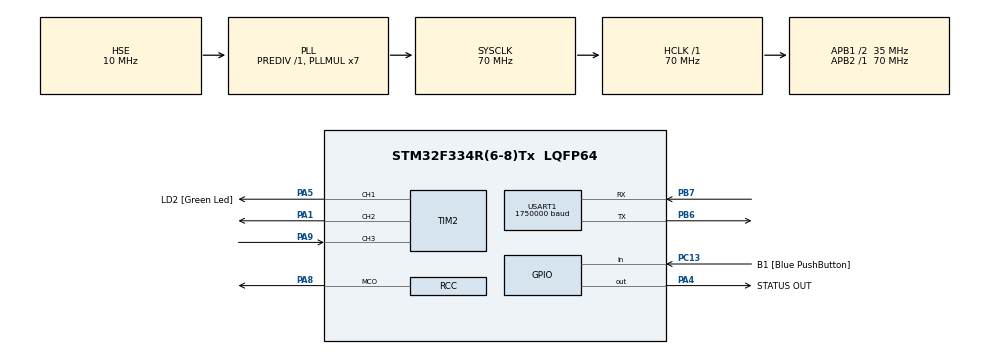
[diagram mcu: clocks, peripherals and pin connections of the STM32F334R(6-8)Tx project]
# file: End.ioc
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Mcu.Family=STM32F3
Mcu.Name=STM32F334R(6-8)Tx
Mcu.Package=LQFP64
NVIC.PriorityGroup=NVIC_PRIORITYGROUP_0
PA1.GPIO_Speed=GPIO_SPEED_FREQ_HIGH
PA1.Signal=S_TIM2_CH2
PA13.GPIO_Label=TMS
PA13.Mode=Serial_Wire
PA13.Signal=SYS_JTMS-SWDIO
PA14.GPIO_Label=TCK
PA14.Mode=Serial_Wire
PA14.Signal=SYS_JTCK-SWCLK
PA4.GPIO_Label=STATUS OUT
PA4.GPIO_PuPd=GPIO_NOPULL
PA4.GPIO_Speed=GPIO_SPEED_FREQ_LOW
PA4.Signal=GPIO_Output
PA5.GPIO_Label=LD2 [Green Led]
PA5.GPIO_Speed=GPIO_SPEED_FREQ_HIGH
PA5.Signal=S_TIM2_CH1_ETR
PA8.Mode=Clock-out
PA8.Signal=RCC_MCO
PA9.GPIO_PuPd=GPIO_PULLDOWN
PA9.GPIO_Speed=GPIO_SPEED_FREQ_HIGH
PA9.Signal=S_TIM2_CH3
PB3.GPIO_Label=SWO
PB3.Signal=SYS_JTDO-TRACESWO
PB6.Mode=Asynchronous
PB6.Signal=USART1_TX
PB7.GPIO_PuPd=GPIO_PULLUP
PB7.Mode=Asynchronous
PB7.Signal=USART1_RX
PC13.GPIO_Label=B1 [Blue PushButton]
PC13.Signal=GPIO_Input
PC14\ /\ OSC32_IN.Mode=LSE-External-Oscillator
PC14\ /\ OSC32_IN.Signal=RCC_OSC32_IN
PC15\ /\ OSC32_OUT.GPIO_Label=RCC_OSC32_OUT
PC15\ /\ OSC32_OUT.Mode=LSE-External-Oscillator
PC15\ /\ OSC32_OUT.Signal=RCC_OSC32_OUT
PF0\ /\ OSC_IN.Mode=HSE-External-Clock-Source
PF0\ /\ OSC_IN.Signal=RCC_OSC_IN
PF1\ /\ OSC_OUT.Signal=RCC_OSC_OUT
ProjectManager.HeapSize=0x200
ProjectManager.StackSize=0x400
ProjectManager.TargetToolchain=STM32CubeIDE
RCC.AHBFreq_Value=70000000
RCC.APB1CLKDivider=RCC_HCLK_DIV2
RCC.APB1Freq_Value=35000000
RCC.APB1TimFreq_Value=70000000
RCC.APB2Freq_Value=70000000
RCC.APB2TimFreq_Value=70000000
RCC.CortexFreq_Value=70000000
RCC.FLatency-AdvancedSettings=FLASH_LATENCY_2
RCC.HCLKFreq_Value=70000000
RCC.HSE_VALUE=10000000
RCC.HSI_VALUE=8000000
RCC.PLLMUL=RCC_PLL_MUL7
RCC.PLLSourceVirtual=RCC_PLLSOURCE_HSE
RCC.RCC_MCOSource=RCC_MCO1SOURCE_HSE
RCC.SYSCLKFreq_VALUE=70000000
RCC.SYSCLKSourceVirtual=RCC_SYSCLKSOURCE_PLLCLK
SH.S_TIM2_CH1_ETR.0=TIM2_CH1,Output Compare1 CH1
SH.S_TIM2_CH2.0=TIM2_CH2,Output Compare2 CH2
SH.S_TIM2_CH3.0=TIM2_CH3,Input_Capture3_from_TI3
TIM2.AutoReloadPreload=TIM_AUTORELOAD_PRELOAD_ENABLE
TIM2.Channel-Input_Capture3_from_TI3=TIM_CHANNEL_3
TIM2.Channel-Output\ Compare1\ CH1=TIM_CHANNEL_1
TIM2.Channel-Output\ Compare2\ CH2=TIM_CHANNEL_2
TIM2.OCMode_1=TIM_OCMODE_TOGGLE
TIM2.OCMode_2=TIM_OCMODE_TOGGLE
TIM2.Pulse-Output\ Compare1\ CH1=4294967295
TIM2.Pulse-Output\ Compare2\ CH2=4294967295
USART1.BaudRate=1750000
USART1.Parity=PARITY_EVEN
USART1.VirtualMode-Asynchronous=VM_ASYNC
USART1.WordLength=WORDLENGTH_9B
VP_TIM2_VS_ClockSourceINT.Mode=Internal
board=NUCLEO-F334R8

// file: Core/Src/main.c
/* USER CODE BEGIN Header */
/**
  ******************************************************************************
  * @file           : main.c
  * @brief          : Main program body
  ******************************************************************************
  * @attention
  *
  * Copyright (c) 2023 STMicroelectronics.
  * All rights reserved.
  *
  * This software is licensed under terms that can be found in the LICENSE file
  * in the root directory of this software component.
  * If no LICENSE file comes with this software, it is provided AS-IS.
  *
  ******************************************************************************
  */
/* USER CODE END Header */
#include "main.h"

/* USER CODE BEGIN Includes */
#include "stdbool.h"
#include "math.h"
#include <stdio.h>
#include <string.h>
#include <stdlib.h>
/* USER CODE END Includes */

/* USER CODE BEGIN PD */
#define FREQ 70000000 // Clock frequency is 70 MHz
/* USER CODE END PD */

TIM_HandleTypeDef htim2;
UART_HandleTypeDef huart1;

/* USER CODE BEGIN PV */
int64_t currentTime, t1, t2, t3, t4 = 0; // Timing variables
int i = 1; 								 // Number of seconds to wait before LED starts toggling
int64_t PTPs = 0; 						 // Number of times PTP algorithm has been completed
uint8_t buffer[8];						 // UART buffer
int ERROR_TX, ERROR_RX = 0;				 // Error indicators
/* USER CODE END PV */

void SystemClock_Config(void);
static void MX_GPIO_Init(void);
static void MX_TIM2_Init(void);
static void MX_USART1_UART_Init(void);

/* USER CODE BEGIN 0 */
// Function for transmitting a uint32_t message (msg) via UART
void uart_tx(int64_t msg)
{
	// Break up the 64-bit integer into 8-bit segments
	for (int i = 0; i < 8; i++)
	{
	  buffer[i] = (msg >> (i * 8)) & 0xFF;
	}

	// Send the data
	if (HAL_UART_Transmit(&huart1, buffer, 8, 100) != HAL_OK)
	{
	  // Transmission Error
	  ERROR_TX = 1;
	  Error_Handler();
	}
}

// Function for receiving a uint32_t message (msg) via UART
void uart_rx(int64_t *msg)
{
	// Clear UART buffer
	memset(buffer, 0, sizeof(buffer));

	// Receive the data
	if (HAL_UART_Receive(&huart1, buffer, 8, 100) != HAL_OK)
	{
	  // Reception Error
	  ERROR_RX = 1;
	  *msg = 0;
	  HAL_UART_DeInit(&huart1);
	  HAL_UART_Init(&huart1);
	  Error_Handler();
	  return;
	}

	// Reconstruct the 64-bit integer from the 8-bit segments
	*msg = 0;
	for (int i = 0; i < 8; i++)
	{
	  *msg |= ((int64_t)buffer[i]) << (i * 8);
	}
}

// Function for toggling logic level of a timer pin
void toggle_pulse(TIM_HandleTypeDef* htim, uint32_t channel){

    // Determine channel flag
	uint32_t channelFlag;
    switch(channel){
        case TIM_CHANNEL_1:
            channelFlag = TIM_FLAG_CC1;
            break;
        case TIM_CHANNEL_2:
            channelFlag = TIM_FLAG_CC2;
            break;
        case TIM_CHANNEL_3:
            channelFlag = TIM_FLAG_CC3;
            break;
        case TIM_CHANNEL_4:
            channelFlag = TIM_FLAG_CC4;
            break;
        default:
            return; // Invalid channel
    }

    // Set compare 250 clock cycles (~3.5us) ahead of current time
    currentTime = __HAL_TIM_GET_COUNTER(htim);
    __HAL_TIM_SET_COMPARE(htim, channel, (currentTime + 250) % __HAL_TIM_GET_AUTORELOAD(htim)); // Modulo accounts for overflow

    // Wait for OC event to trigger
    while(__HAL_TIM_GET_FLAG(htim, channelFlag) == RESET){
        // OC not yet triggered
    }

    // Clear OC flag in preparation for a future OC event
    __HAL_TIM_CLEAR_FLAG(htim, channelFlag);
}

// Slave Sync Function
void sync_s(void)
{
	// Set the STATUS output pin high (not ready to receive UART)
	HAL_GPIO_WritePin(GPIOA, GPIO_PIN_4, GPIO_PIN_SET);

	// Wait for IC event to trigger
	while(__HAL_TIM_GET_FLAG(&htim2, TIM_FLAG_CC3) == RESET){
		// Waiting for master to respond
	}

	// Clear IC flag in preparation for a future IC event
	__HAL_TIM_CLEAR_FLAG(&htim2, TIM_FLAG_CC3);

	// Record IC time as t2
	t2 = HAL_TIM_ReadCapturedValue(&htim2, TIM_CHANNEL_3);
}

// Slave Follow Up Function
void follow_up_s(void)
{
	HAL_Delay(1);
	// Set the STATUS output pin low (ready to receive UART)
	HAL_GPIO_WritePin(GPIOA, GPIO_PIN_4, GPIO_PIN_RESET);

	// Receive t1 from master
	uart_rx(&t1);

	// Remove time offset
	if(t1 != 0){
	__HAL_TIM_SET_COUNTER(&htim2, __HAL_TIM_GET_COUNTER(&htim2) + (t1 - t2));
	}

	// Set the STATUS output pin high (not ready to receive UART)
	HAL_GPIO_WritePin(GPIOA, GPIO_PIN_4, GPIO_PIN_SET);
}

// Slave Delay Req Function
void delay_req_s(void)
{
	// Toggle slave OC pin high
	toggle_pulse(&htim2, TIM_CHANNEL_2);

	// Record OC time as t3
	t3 = HAL_TIM_ReadCapturedValue(&htim2, TIM_CHANNEL_2);

	// Toggle slave OC pin low
	toggle_pulse(&htim2, TIM_CHANNEL_2);
}

// Slave Delay Res Function
void delay_res_s(void)
{
	HAL_Delay(1);
	// Set the STATUS output pin low (ready to receive UART)
	HAL_GPIO_WritePin(GPIOA, GPIO_PIN_4, GPIO_PIN_RESET);

	// Receive t4 from master
	uart_rx(&t4);

	// Remove propagation delay
	if(t1 != 0 && t4 != 0){
	__HAL_TIM_SET_COUNTER(&htim2, __HAL_TIM_GET_COUNTER(&htim2) + round((t4 - t3)/2)); // Round() is required as t4-t3 could be an odd number
	}

	// Set the STATUS output pin low (ready to receive UART)
	HAL_GPIO_WritePin(GPIOA, GPIO_PIN_4, GPIO_PIN_RESET);
}

// Function for configuring the output pin (timer 2, channel 1) for synchronisation performance testing
void update_output(void)
{
	// If an OC event has been triggered
	if(__HAL_TIM_GET_FLAG(&htim2, TIM_FLAG_CC1) == SET){

		i++;

		if(i > __HAL_TIM_GET_AUTORELOAD(&htim2) / FREQ){
			i = 1; // Reset i to 1 on timer overflow
		}

		// Clear OC flag in preparation for a future OC event
		__HAL_TIM_CLEAR_FLAG(&htim2, TIM_FLAG_CC1);

		// Set compare 1 second ahead
		__HAL_TIM_SET_COMPARE(&htim2, TIM_CHANNEL_1, (i*FREQ) % __HAL_TIM_GET_AUTORELOAD(&htim2)); // Modulo accounts for timer overflow
	}
}
/* USER CODE END 0 */

int main(void)
{

  /* MCU Configuration--------------------------------------------------------*/

  /* Reset of all peripherals, Initializes the Flash interface and the Systick. */
  HAL_Init();

  /* Configure the system clock */
  SystemClock_Config();

  /* Initialize all configured peripherals */
  MX_GPIO_Init();
  MX_TIM2_Init();
  MX_USART1_UART_Init();
  /* USER CODE BEGIN 2 */

  // Start timer 2
  HAL_TIM_Base_Start(&htim2);
  HAL_TIM_OC_Start(&htim2, TIM_CHANNEL_1); // OC test channel
  HAL_TIM_OC_Start(&htim2, TIM_CHANNEL_2); // OC slave channel
  HAL_TIM_IC_Start(&htim2, TIM_CHANNEL_3); // IC master channel
  HAL_TIM_OC_Start(&htim2, TIM_CHANNEL_4); // OC master channel
  __HAL_TIM_SET_COMPARE(&htim2, TIM_CHANNEL_1, i * FREQ); // Set test OC to start after i seconds

  // Set STATUS output pin high to start PTP with master
  HAL_GPIO_WritePin(GPIOA, GPIO_PIN_4, GPIO_PIN_SET);

  /* USER CODE END 2 */

  /* Infinite loop */
  /* USER CODE BEGIN WHILE */
  while (1)
  {
	  sync_s();
	  follow_up_s();
	  delay_req_s();
	  delay_res_s();
	  update_output();
	  PTPs++;
    /* USER CODE END WHILE */

  }
}

void SystemClock_Config(void)
{
  RCC_OscInitTypeDef RCC_OscInitStruct = {0};
  RCC_ClkInitTypeDef RCC_ClkInitStruct = {0};
  RCC_PeriphCLKInitTypeDef PeriphClkInit = {0};

  /** Initializes the RCC Oscillators according to the specified parameters
  * in the RCC_OscInitTypeDef structure.
  */
  RCC_OscInitStruct.OscillatorType = RCC_OSCILLATORTYPE_HSE;
  RCC_OscInitStruct.HSEState = RCC_HSE_BYPASS;
  RCC_OscInitStruct.HSEPredivValue = RCC_HSE_PREDIV_DIV1;
  RCC_OscInitStruct.HSIState = RCC_HSI_ON;
  RCC_OscInitStruct.PLL.PLLState = RCC_PLL_ON;
  RCC_OscInitStruct.PLL.PLLSource = RCC_PLLSOURCE_HSE;
  RCC_OscInitStruct.PLL.PLLMUL = RCC_PLL_MUL7;
  if (HAL_RCC_OscConfig(&RCC_OscInitStruct) != HAL_OK)
  {
    Error_Handler();
  }

  /** Initializes the CPU, AHB and APB buses clocks
  */
  RCC_ClkInitStruct.ClockType = RCC_CLOCKTYPE_HCLK|RCC_CLOCKTYPE_SYSCLK
                              |RCC_CLOCKTYPE_PCLK1|RCC_CLOCKTYPE_PCLK2;
  RCC_ClkInitStruct.SYSCLKSource = RCC_SYSCLKSOURCE_PLLCLK;
  RCC_ClkInitStruct.AHBCLKDivider = RCC_SYSCLK_DIV1;
  RCC_ClkInitStruct.APB1CLKDivider = RCC_HCLK_DIV2;
  RCC_ClkInitStruct.APB2CLKDivider = RCC_HCLK_DIV1;

  if (HAL_RCC_ClockConfig(&RCC_ClkInitStruct, FLASH_LATENCY_2) != HAL_OK)
  {
    Error_Handler();
  }
  PeriphClkInit.PeriphClockSelection = RCC_PERIPHCLK_USART1;
  PeriphClkInit.Usart1ClockSelection = RCC_USART1CLKSOURCE_PCLK1;
  if (HAL_RCCEx_PeriphCLKConfig(&PeriphClkInit) != HAL_OK)
  {
    Error_Handler();
  }
  HAL_RCC_MCOConfig(RCC_MCO, RCC_MCO1SOURCE_HSE, RCC_MCODIV_1);
}

static void MX_TIM2_Init(void)
{

  TIM_ClockConfigTypeDef sClockSourceConfig = {0};
  TIM_MasterConfigTypeDef sMasterConfig = {0};
  TIM_OC_InitTypeDef sConfigOC = {0};
  TIM_IC_InitTypeDef sConfigIC = {0};

  htim2.Instance = TIM2;
  htim2.Init.Prescaler = 0;
  htim2.Init.CounterMode = TIM_COUNTERMODE_UP;
  htim2.Init.Period = 4294967295;
  htim2.Init.ClockDivision = TIM_CLOCKDIVISION_DIV1;
  htim2.Init.AutoReloadPreload = TIM_AUTORELOAD_PRELOAD_ENABLE;
  if (HAL_TIM_Base_Init(&htim2) != HAL_OK)
  {
    Error_Handler();
  }
  sClockSourceConfig.ClockSource = TIM_CLOCKSOURCE_INTERNAL;
  if (HAL_TIM_ConfigClockSource(&htim2, &sClockSourceConfig) != HAL_OK)
  {
    Error_Handler();
  }
  if (HAL_TIM_OC_Init(&htim2) != HAL_OK)
  {
    Error_Handler();
  }
  if (HAL_TIM_IC_Init(&htim2) != HAL_OK)
  {
    Error_Handler();
  }
  sMasterConfig.MasterOutputTrigger = TIM_TRGO_RESET;
  sMasterConfig.MasterSlaveMode = TIM_MASTERSLAVEMODE_DISABLE;
  if (HAL_TIMEx_MasterConfigSynchronization(&htim2, &sMasterConfig) != HAL_OK)
  {
    Error_Handler();
  }
  sConfigOC.OCMode = TIM_OCMODE_TOGGLE;
  sConfigOC.Pulse = 4294967295;
  sConfigOC.OCPolarity = TIM_OCPOLARITY_HIGH;
  sConfigOC.OCFastMode = TIM_OCFAST_DISABLE;
  if (HAL_TIM_OC_ConfigChannel(&htim2, &sConfigOC, TIM_CHANNEL_1) != HAL_OK)
  {
    Error_Handler();
  }
  if (HAL_TIM_OC_ConfigChannel(&htim2, &sConfigOC, TIM_CHANNEL_2) != HAL_OK)
  {
    Error_Handler();
  }
  sConfigIC.ICPolarity = TIM_INPUTCHANNELPOLARITY_RISING;
  sConfigIC.ICSelection = TIM_ICSELECTION_DIRECTTI;
  sConfigIC.ICPrescaler = TIM_ICPSC_DIV1;
  sConfigIC.ICFilter = 0;
  if (HAL_TIM_IC_ConfigChannel(&htim2, &sConfigIC, TIM_CHANNEL_3) != HAL_OK)
  {
    Error_Handler();
  }
  HAL_TIM_MspPostInit(&htim2);

}

static void MX_USART1_UART_Init(void)
{

  huart1.Instance = USART1;
  huart1.Init.BaudRate = 1750000;
  huart1.Init.WordLength = UART_WORDLENGTH_9B;
  huart1.Init.StopBits = UART_STOPBITS_1;
  huart1.Init.Parity = UART_PARITY_EVEN;
  huart1.Init.Mode = UART_MODE_TX_RX;
  huart1.Init.HwFlowCtl = UART_HWCONTROL_NONE;
  huart1.Init.OverSampling = UART_OVERSAMPLING_16;
  huart1.Init.OneBitSampling = UART_ONE_BIT_SAMPLE_DISABLE;
  huart1.AdvancedInit.AdvFeatureInit = UART_ADVFEATURE_NO_INIT;
  if (HAL_UART_Init(&huart1) != HAL_OK)
  {
    Error_Handler();
  }

}

static void MX_GPIO_Init(void)
{
  GPIO_InitTypeDef GPIO_InitStruct = {0};

  /* GPIO Ports Clock Enable */
  __HAL_RCC_GPIOC_CLK_ENABLE();
  __HAL_RCC_GPIOF_CLK_ENABLE();
  __HAL_RCC_GPIOA_CLK_ENABLE();
  __HAL_RCC_GPIOB_CLK_ENABLE();

  /*Configure GPIO pin Output Level */
  HAL_GPIO_WritePin(STATUS_OUT_GPIO_Port, STATUS_OUT_Pin, GPIO_PIN_RESET);

  /*Configure GPIO pin : B1_Pin */
  GPIO_InitStruct.Pin = B1_Pin;
  GPIO_InitStruct.Mode = GPIO_MODE_INPUT;
  GPIO_InitStruct.Pull = GPIO_NOPULL;
  HAL_GPIO_Init(B1_GPIO_Port, &GPIO_InitStruct);

  /*Configure GPIO pin : STATUS_OUT_Pin */
  GPIO_InitStruct.Pin = STATUS_OUT_Pin;
  GPIO_InitStruct.Mode = GPIO_MODE_OUTPUT_PP;
  GPIO_InitStruct.Pull = GPIO_NOPULL;
  GPIO_InitStruct.Speed = GPIO_SPEED_FREQ_LOW;
  HAL_GPIO_Init(STATUS_OUT_GPIO_Port, &GPIO_InitStruct);

  /*Configure GPIO pin : PA8 */
  GPIO_InitStruct.Pin = GPIO_PIN_8;
  GPIO_InitStruct.Mode = GPIO_MODE_AF_PP;
  GPIO_InitStruct.Pull = GPIO_NOPULL;
  GPIO_InitStruct.Speed = GPIO_SPEED_FREQ_LOW;
  GPIO_InitStruct.Alternate = GPIO_AF0_MCO;
  HAL_GPIO_Init(GPIOA, &GPIO_InitStruct);

}

void Error_Handler(void)
{
  __disable_irq();
  while (1)
  {
  }
}
